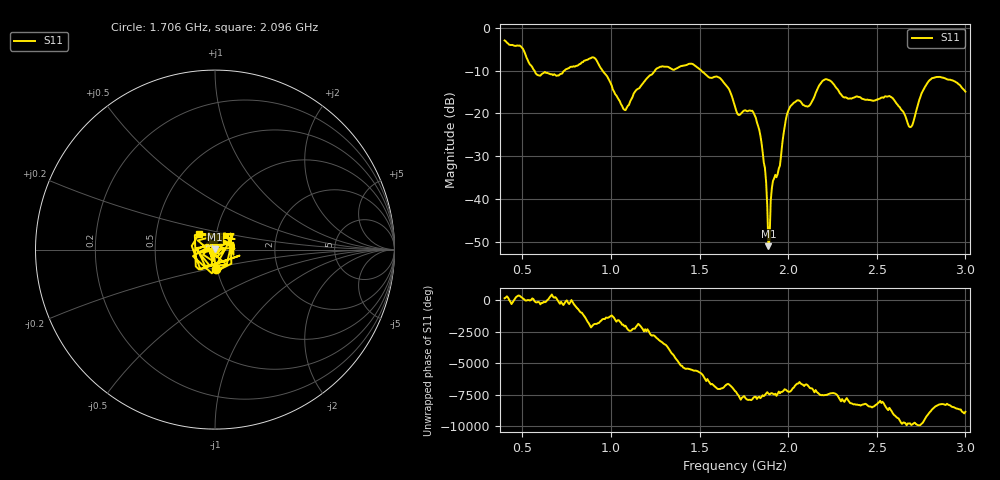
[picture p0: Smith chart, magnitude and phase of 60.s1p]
!Created with skrf (http://scikit-rf.org).
# Hz S RI R 50.0
!freq ReS11 ImS11
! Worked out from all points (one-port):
!   401 points, 400 MHz to 3 GHz, reference 50 ohm
!   lowest |S11| = -51.0 dB at 1.889 GHz (marker M1), VSWR 1.01, Z = 49.7 + j0.121 ohm
!   |S11| at or under -10 dB: 568.1 MHz to 737.7 MHz (169.6 MHz wide, 26 % of centre); 952.2 MHz to 1.248 GHz (296.1 MHz wide, 26.9 % of centre); 1.509 GHz to end of sweep
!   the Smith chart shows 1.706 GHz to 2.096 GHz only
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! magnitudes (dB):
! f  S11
! 400 MHz  -3.0
! 497.5 MHz  -4.6
! 588.5 MHz  -11.1
! 725 MHz  -10.7
! 907 MHz  -7.0
! 1.05 GHz  -17.2
! 1.089 GHz  -18.7
! 1.264 GHz  -9.4
! 1.375 GHz  -9.4
! 1.609 GHz  -11.6
! 1.7 GHz  -18.5
! 1.823 GHz  -22.1
! 1.856 GHz  -29.0
! 1.889 GHz  -51.0
! 1.901 GHz  -40.4
! 1.915 GHz  -35.7
! 1.947 GHz  -32.9
! 1.986 GHz  -21.6
! 2.025 GHz  -17.8
! 2.116 GHz  -18.3
! 2.213 GHz  -12.0
! 2.35 GHz  -16.5
! 2.578 GHz  -16.1
! 2.675 GHz  -22.4
! 2.701 GHz  -22.7
! 2.753 GHz  -15.3
! 2.812 GHz  -11.8
! 3 GHz  -14.9
